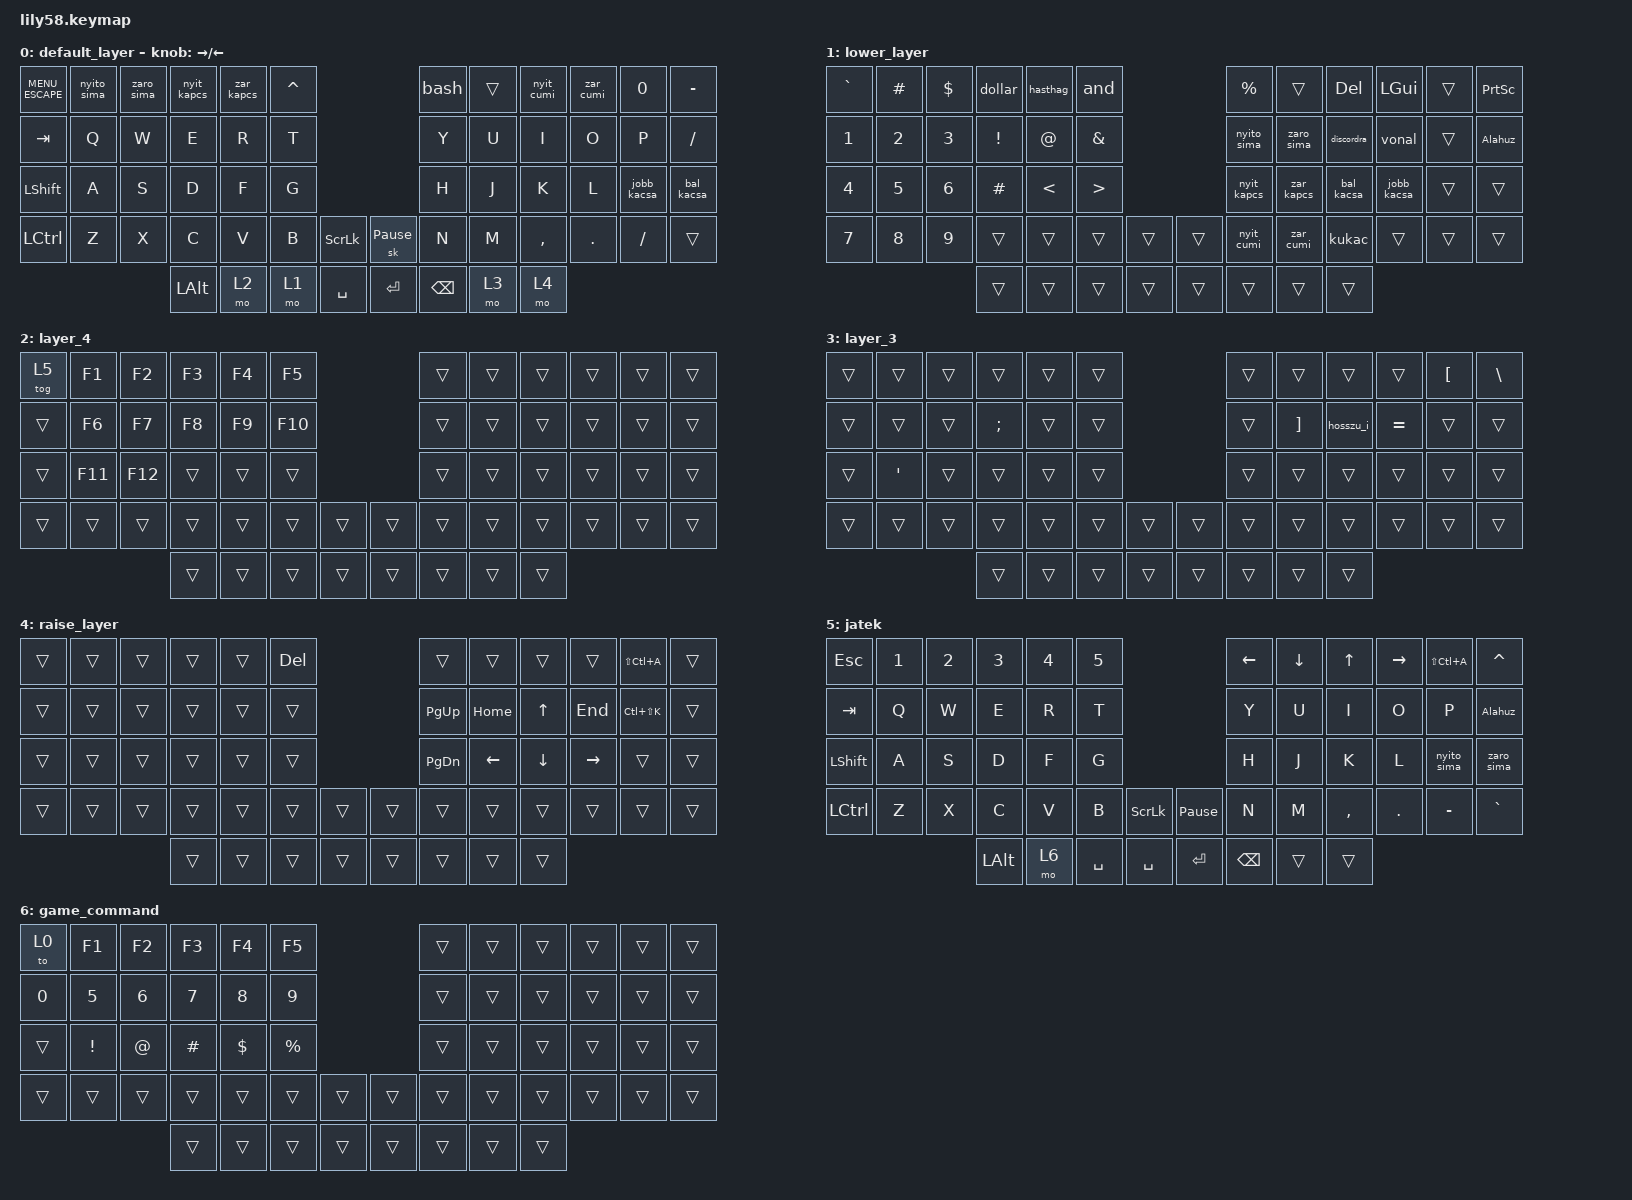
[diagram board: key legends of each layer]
#include <behaviors.dtsi>
#include <dt-bindings/zmk/keys.h>

/ {
    macros {
        hosszu_i: hosszu_i {
            compatible = "zmk,behavior-macro";
            #binding-cells = <0>;
            bindings = <&kp RA(I)>;
            label = "HOSSZU_I";
        };

        dollar: dollar {
            compatible = "zmk,behavior-macro";
            #binding-cells = <0>;
            bindings = <&kp RA(SEMICOLON)>;
            label = "DOLLAR";
        };

        csillag: csillag {
            compatible = "zmk,behavior-macro";
            #binding-cells = <0>;
            bindings = <&kp RA(SLASH)>;
            label = "CSILLAG";
        };

        kacsint: kacsint {
            compatible = "zmk,behavior-macro";
            #binding-cells = <0>;
            bindings = <&kp RA(COMMA)>;
            label = "KACSINT";
        };

        bal_kacsa: bal_kacsa {
            compatible = "zmk,behavior-macro";
            #binding-cells = <0>;
            bindings = <&kp RA(M)>;
            label = "BAL_KACSA";
        };

        jobb_kacsa: jobb_kacsa {
            compatible = "zmk,behavior-macro";
            #binding-cells = <0>;
            bindings = <&kp RA(PERIOD)>;
            label = "JOBB_KACSA";
        };

        zaro_sima: zaro_sima {
            compatible = "zmk,behavior-macro";
            #binding-cells = <0>;
            bindings = <&kp LEFT_PARENTHESIS>;
            label = "ZARO_SIMA";
        };

        nyit_kapcs: nyit_kapcs {
            compatible = "zmk,behavior-macro";
            #binding-cells = <0>;
            bindings = <&kp RA(F)>;
            label = "NYIT_KAPCS";
        };

        zar_kapcs: zar_kapcs {
            compatible = "zmk,behavior-macro";
            #binding-cells = <0>;
            bindings = <&kp RA(G)>;
            label = "ZAR_KAPCS";
        };

        nyit_cumi: nyit_cumi {
            compatible = "zmk,behavior-macro";
            #binding-cells = <0>;
            bindings = <&kp RA(B)>;
            label = "NYIT_CUMI";
        };

        zar_cumi: zar_cumi {
            compatible = "zmk,behavior-macro";
            #binding-cells = <0>;
            bindings = <&kp RA(N)>;
            label = "ZAR_CUMI";
        };

        Alahuz: Alahuz {
            compatible = "zmk,behavior-macro";
            #binding-cells = <0>;
            bindings = <&kp LS(SLASH)>;
            label = "ALAHUZ";
        };

        hasthag: hasthag {
            compatible = "zmk,behavior-macro";
            #binding-cells = <0>;
            bindings = <&kp RA(X)>;
            label = "HASTHAG";
        };

        and: and {
            compatible = "zmk,behavior-macro";
            #binding-cells = <0>;
            bindings = <&kp RA(C)>;
            label = "AND";
        };

        kukac: kukac {
            compatible = "zmk,behavior-macro";
            #binding-cells = <0>;
            bindings = <&kp RA(V)>;
            label = "KUKAC";
        };

        vonal: vonal {
            compatible = "zmk,behavior-macro";
            #binding-cells = <0>;
            bindings = <&kp RA(W)>;
            label = "VONAL";
        };

        discordra: discordra {
            compatible = "zmk,behavior-macro";
            #binding-cells = <0>;
            bindings = <&kp RA(N7)>;
            label = "DISCORDRA";
        };

        nyito_sima: nyito_sima {
            compatible = "zmk,behavior-macro";
            #binding-cells = <0>;
            bindings = <&kp STAR>;
            label = "NYITO_SIMA";
        };

        hetes: hetes {
            compatible = "zmk,behavior-macro";
            #binding-cells = <0>;
            bindings = <&kp NUMBER_7>;
            label = "HETES";
        };

        terminal: terminal {
            compatible = "zmk,behavior-macro";
            #binding-cells = <0>;
            bindings = <&kp LC(RA(T))>;
            label = "TERMINAL";
        };

        bash: bash {
            compatible = "zmk,behavior-macro";
            #binding-cells = <0>;
            bindings = <&kp LC(B)>;
            label = "BASH";
        };

        ALTTAB: ALTTAB {
            compatible = "zmk,behavior-macro";
            #binding-cells = <0>;
            bindings = <&kp LA(TAB)>;
            label = "ALTTAB";
        };

        tab1: tab1 {
            compatible = "zmk,behavior-macro";
            #binding-cells = <0>;
            bindings = <&kp LC(LA(F1))>;
            label = "TAB1";
        };

        tab2: tab2 {
            compatible = "zmk,behavior-macro";
            #binding-cells = <0>;
            bindings = <&kp LC(LA(F2))>;
            label = "TAB2";
        };

        tab3: tab3 {
            compatible = "zmk,behavior-macro";
            #binding-cells = <0>;
            bindings = <&kp LC(LA(F3))>;
            label = "TAB3";
        };

        tab4: tab4 {
            compatible = "zmk,behavior-macro";
            #binding-cells = <0>;
            bindings = <&kp LC(LA(F4))>;
            label = "TAB4";
        };

        tab5: tab5 {
            compatible = "zmk,behavior-macro";
            #binding-cells = <0>;
            bindings = <&kp LC(LA(F5))>;
            label = "TAB5";
        };

        tab6: tab6 {
            compatible = "zmk,behavior-macro";
            #binding-cells = <0>;
            bindings = <&kp LC(LA(F6))>;
            label = "TAB6";
        };

        masolas: masolas {
            compatible = "zmk,behavior-macro";
            #binding-cells = <0>;
            bindings = <&kp LC(C)>;
            label = "MASOLAS";
        };

        bemasol: bemasol {
            compatible = "zmk,behavior-macro";
            #binding-cells = <0>;
            bindings = <&kp LC(V)>;
            label = "BEMASOL";
        };

        alt_f4: alt_f4 {
            compatible = "zmk,behavior-macro";
            #binding-cells = <0>;
            bindings = <&kp LA(F4)>;
            label = "ALT_F4";
        };
    };

    combos {
        compatible = "zmk,combos";

        alt_tab {
            bindings = <&ALTTAB>;
            key-positions = <34 12>;
        };
    };

    keymap {
        compatible = "zmk,keymap";

        default_layer {
            // ------------------------------------------------------------------------------------------------------------
            // |  ESC  |  1  |  2  |  3   |  4   |  5   |                   |  6   |  7    |  8    |  9   |   0   | BSPC  |
            // |  TAB  |  Q  |  W  |  E   |  R   |  T   |                   |  Y   |  U    |  I    |  O   |   P   |   \   |
            // | SHIFT |  A  |  S  |  D   |  F   |  G   |                   |  H   |  J    |  K    |  L   |   ;   |   '   |
            // | CTRL  |  Z  |  X  |  C   |  V   |  B   |   [  |  |  ]    |  N   |  M    |   ,   |   .   |   /   | SHIFT |
            //                     | ALT  | GUI  | LOWER| SPACE |  | ENTER | RAISE| GUI   | ALT   |

            bindings = <
&kp C_MENU_ESCAPE  &nyito_sima  &zaro_sima  &nyit_kapcs   &zar_kapcs  &kp CARET                                     &bash          &trans  &nyit_cumi  &zar_cumi  &kp NUMBER_0  &kp MINUS
&kp TAB            &kp Q        &kp W       &kp E         &kp R       &kp T                                         &kp Y          &kp U   &kp I       &kp O      &kp P         &kp SLASH
&kp LSHFT          &kp A        &kp S       &kp D         &kp F       &kp G                                         &kp H          &kp J   &kp K       &kp L      &jobb_kacsa   &bal_kacsa
&kp LCTRL          &kp Z        &kp X       &kp C         &kp V       &kp B      &kp SCROLLLOCK    &sk PAUSE_BREAK  &kp N          &kp M   &kp COMMA   &kp DOT    &kp FSLH      &trans
                                            &kp LEFT_ALT  &mo 2       &mo 1      &kp SPACE         &kp ENTER        &kp BACKSPACE  &mo 3   &mo 4
            >;

            sensor-bindings = <&inc_dec_kp RIGHT LEFT>;
        };

        lower_layer {
            // ------------------------------------------------------------------------------------------------------------
            // | UNLOCK|  F1 |  F2 |  F3  |  F4  |  F5  |                   |  F6  |  F7   |  F8   |  F9  |  F10  |  F11  |
            // | GRAVE |     |     |      |      |      |                   |      |       |       |      |       |  F12  |
            // |       |  !  |  @  |  #   |  $   |  %   |                   |  ^   |  &    |  * |  (   |   )   |   ~   |
            // |       |     |     |      |      |      |      |  |       |      |  _    |  +    |  {   |   }   |  "|"  |
            //                     |      |      |      |      |  |       |      |       |       |

            bindings = <
&kp GRAVE     &kp HASH      &kp DOLLAR    &dollar          &hasthag       &and                                &kp PERCENT  &trans      &kp DELETE  &kp LEFT_GUI  &trans  &kp PRINTSCREEN
&kp NUMBER_1  &kp NUMBER_2  &kp NUMBER_3  &kp EXCLAMATION  &kp AT_SIGN    &kp AMPERSAND                       &nyito_sima  &zaro_sima  &discordra  &vonal        &trans  &Alahuz
&kp NUMBER_4  &kp N5        &kp NUMBER_6  &kp HASH         &kp LESS_THAN  &kp GREATER_THAN                    &nyit_kapcs  &zar_kapcs  &bal_kacsa  &jobb_kacsa   &trans  &trans
&kp N7        &kp N8        &kp N9        &trans           &trans         &trans            &trans    &trans  &nyit_cumi   &zar_cumi   &kukac      &trans        &trans  &trans
                                          &trans           &trans         &trans            &trans    &trans  &trans       &trans      &trans
            >;
        };

        layer_4 {
            bindings = <
&tog 5  &kp F1   &kp F2   &kp F3  &kp F4  &kp F5                     &trans  &trans  &trans  &trans  &trans  &trans
&trans  &kp F6   &kp F7   &kp F8  &kp F9  &kp F10                    &trans  &trans  &trans  &trans  &trans  &trans
&trans  &kp F11  &kp F12  &trans  &trans  &trans                     &trans  &trans  &trans  &trans  &trans  &trans
&trans  &trans   &trans   &trans  &trans  &trans   &trans    &trans  &trans  &trans  &trans  &trans  &trans  &trans
                          &trans  &trans  &trans   &trans    &trans  &trans  &trans  &trans
            >;
        };

        layer_3 {
            bindings = <
&trans  &trans   &trans  &trans         &trans  &trans                    &trans  &trans             &trans     &trans     &kp LEFT_BRACKET  &kp BACKSLASH
&trans  &trans   &trans  &kp SEMICOLON  &trans  &trans                    &trans  &kp RIGHT_BRACKET  &hosszu_i  &kp EQUAL  &trans            &trans
&trans  &kp SQT  &trans  &trans         &trans  &trans                    &trans  &trans             &trans     &trans     &trans            &trans
&trans  &trans   &trans  &trans         &trans  &trans  &trans    &trans  &trans  &trans             &trans     &trans     &trans            &trans
                         &trans         &trans  &trans  &trans    &trans  &trans  &trans             &trans
            >;
        };

        raise_layer {
            // ------------------------------------------------------------------------------------------------------------
            // |       |     |     |      |      |      |                   |      |       |       |      |       |       |
            // |       |     |     |      |      |      |                   | PgUp | Home  |   ^   | End  |       |       |
            // |       |     |     |      |      |      |                   | PgDn |   <-  |   v   |  ->  |       |       |
            // | BTCLR | BT1 | BT2 | BT3  | BT4  | BT5  |      |  |       |      |       |       |      |       |       |
            //                     |      |      |      |      |  |       |      |       |       |

            bindings = <
&trans  &trans  &trans  &trans  &trans  &kp DEL                    &trans     &trans    &trans    &trans     &kp LS(LC(A))  &trans
&trans  &trans  &trans  &trans  &trans  &trans                     &kp PG_UP  &kp HOME  &kp UP    &kp END    &kp LC(LS(K))  &trans
&trans  &trans  &trans  &trans  &trans  &trans                     &kp PG_DN  &kp LEFT  &kp DOWN  &kp RIGHT  &trans         &trans
&trans  &trans  &trans  &trans  &trans  &trans   &trans    &trans  &trans     &trans    &trans    &trans     &trans         &trans
                        &trans  &trans  &trans   &trans    &trans  &trans     &trans    &trans
            >;
        };

        jatek {
            bindings = <
&kp ESC         &kp NUMBER_1  &kp NUMBER_2  &kp NUMBER_3  &kp NUMBER_4  &kp N5                                        &kp LEFT       &kp DOWN  &kp UP_ARROW  &kp RIGHT   &kp LS(LC(A))  &kp CARET
&kp TAB         &kp Q         &kp W         &kp E         &kp R         &kp T                                         &kp Y          &kp U     &kp I         &kp O       &kp P          &Alahuz
&kp LEFT_SHIFT  &kp A         &kp S         &kp D         &kp F         &kp G                                         &kp H          &kp J     &kp K         &kp L       &nyito_sima    &zaro_sima
&kp LCTRL       &kp Z         &kp X         &kp C         &kp V         &kp B      &kp SCROLLLOCK    &kp PAUSE_BREAK  &kp N          &kp M     &kp COMMA     &kp PERIOD  &kp MINUS      &kp GRAVE
                                            &kp LEFT_ALT  &mo 6         &kp SPACE  &kp SPACE         &kp ENTER        &kp BACKSPACE  &trans    &trans
            >;
        };

        game_command {
            bindings = <
&to 0   &kp F1           &kp F2        &kp F3    &kp F4      &kp F5                         &trans  &trans  &trans  &trans  &trans  &trans
&kp N0  &kp N5           &kp NUMBER_6  &kp N7    &kp N8      &kp N9                         &trans  &trans  &trans  &trans  &trans  &trans
&trans  &kp EXCLAMATION  &kp AT        &kp HASH  &kp DOLLAR  &kp PERCENT                    &trans  &trans  &trans  &trans  &trans  &trans
&trans  &trans           &trans        &trans    &trans      &trans       &trans    &trans  &trans  &trans  &trans  &trans  &trans  &trans
                                       &trans    &trans      &trans       &trans    &trans  &trans  &trans  &trans
            >;
        };
    };
};
